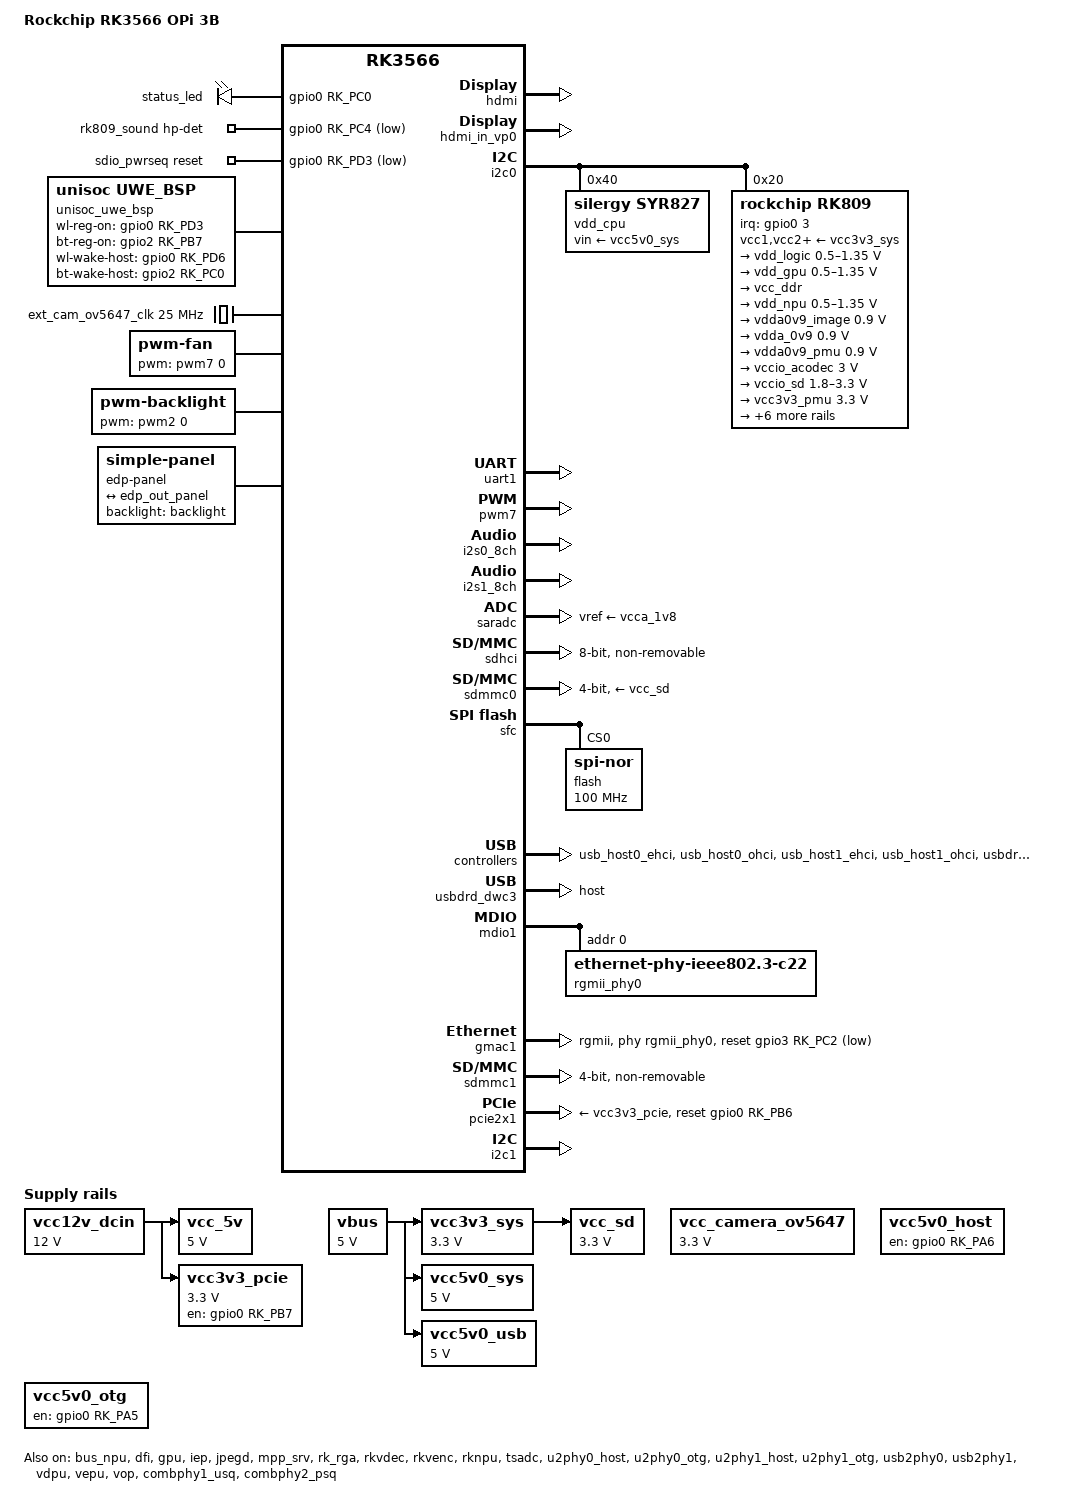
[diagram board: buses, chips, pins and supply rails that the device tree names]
// SPDX-License-Identifier: (GPL-2.0+ OR MIT)
/*
 * Copyright (c) 2020 Rockchip Electronics Co., Ltd.
 *
 */
/dts-v1/;

#include <dt-bindings/gpio/gpio.h>
#include <dt-bindings/pwm/pwm.h>
#include <dt-bindings/pinctrl/rockchip.h>
#include <dt-bindings/input/rk-input.h>
#include <dt-bindings/display/drm_mipi_dsi.h>
#include <dt-bindings/sensor-dev.h>
#include <dt-bindings/display/rockchip_vop.h>
#include "rk3566.dtsi"
#include "rk3568-linux.dtsi"

/ {
	model = "Rockchip RK3566 OPi 3B";
	compatible = "rockchip,rk3566-orangepi-3b", "rockchip,rk3566";

	chosen: chosen {
		bootargs = "earlycon=uart8250,mmio32,0xfe660000 console=ttyFIQ0";
	};

	/* labeled +12v in schematic */
	vcc12v_dcin: vcc12v-dcin-regulator {
		compatible = "regulator-fixed";
		regulator-name = "vcc12v_dcin";
		regulator-always-on;
		regulator-boot-on;
		regulator-min-microvolt = <12000000>;
		regulator-max-microvolt = <12000000>;
	};

	/* labeled +5v in schematic */
	vcc_5v: vcc-5v-regulator {
		compatible = "regulator-fixed";
		regulator-name = "vcc_5v";
		regulator-always-on;
		regulator-boot-on;
		regulator-min-microvolt = <5000000>;
		regulator-max-microvolt = <5000000>;
		vin-supply = <&vcc12v_dcin>;
	};

	vbus: vbus {
		compatible = "regulator-fixed";
		regulator-name = "vbus";
		regulator-always-on;
		regulator-boot-on;
		regulator-min-microvolt = <5000000>;
		regulator-max-microvolt = <5000000>;
	};

	/* labeled +3.3v For PCIe only in schematic */
	vcc3v3_pcie: vcc3v3-pcie-regulator {
		compatible = "regulator-fixed";
		regulator-name = "vcc3v3_pcie";
		regulator-always-on;
		regulator-boot-on;
		enable-active-high;
		gpio = <&gpio0 RK_PB7 GPIO_ACTIVE_HIGH>;
		pinctrl-names = "default";
		pinctrl-0 = <&pcie_drv>;
		regulator-min-microvolt = <3300000>;
		regulator-max-microvolt = <3300000>;
		vin-supply = <&vcc12v_dcin>;
	};
		
	hdmi_sound: hdmi-sound {
		compatible = "simple-audio-card";
		simple-audio-card,format = "i2s";
		simple-audio-card,mclk-fs = <128>;
		simple-audio-card,name = "rockchip,hdmi";
		status = "disabled";

		simple-audio-card,cpu {
				sound-dai = <&i2s0_8ch>;
		};
		simple-audio-card,codec {
				sound-dai = <&hdmi>;
		};
	};

	leds: leds {
		compatible = "gpio-leds";
		pinctrl-names = "default";
		pinctrl-0 =<&leds_gpio>;

		led@1 {
			gpios = <&gpio0 RK_PC0 GPIO_ACTIVE_HIGH>;
			label = "status_led";
			linux,default-trigger = "heartbeat";
		};
	};

	rk809_sound: rk809-sound {
		status = "okay";
		compatible = "rockchip,multicodecs-card";
		rockchip,card-name = "rockchip-rk809";
		hp-det-gpio = <&gpio0 RK_PC4 GPIO_ACTIVE_LOW>;
		rockchip,format = "i2s";
		rockchip,mclk-fs = <256>;
		rockchip,cpu = <&i2s1_8ch>;
		rockchip,codec = <&rk809_codec>;
		pinctrl-names = "default";
		pinctrl-0 = <&hp_det>;
	};

	vcc3v3_sys: vcc3v3-sys {
		compatible = "regulator-fixed";
		regulator-name = "vcc3v3_sys";
		regulator-always-on;
		regulator-boot-on;
		regulator-min-microvolt = <3300000>;
		regulator-max-microvolt = <3300000>;
		vin-supply = <&vbus>;
	};

	vcc5v0_sys: vcc5v0-sys {
		compatible = "regulator-fixed";
		regulator-name = "vcc5v0_sys";
		regulator-always-on;
		regulator-boot-on;
		regulator-min-microvolt = <5000000>;
		regulator-max-microvolt = <5000000>;
		vin-supply = <&vbus>;
	};

	vcc5v0_usb: vcc5v0-usb {
		compatible = "regulator-fixed";
		regulator-name = "vcc5v0_usb";
		regulator-always-on;
		regulator-boot-on;
		regulator-min-microvolt = <5000000>;
		regulator-max-microvolt = <5000000>;
		vin-supply = <&vbus>;
	};

	sdio_pwrseq: sdio-pwrseq {
		compatible = "mmc-pwrseq-simple";
		clocks = <&rk809 1>;
		clock-names = "ext_clock";
		pinctrl-names = "default";
		pinctrl-0 = <&wifi_enable_h>;

		/*
		 * On the module itself this is one of these (depending
		 * on the actual card populated):
		 * - SDIO_RESET_L_WL_REG_ON
		 * - PDN (power down when low)
		 */
		post-power-on-delay-ms = <200>;
		reset-gpios = <&gpio0 RK_PD3 GPIO_ACTIVE_LOW>;
	};

	test-power {
		status = "okay";
	};

	unisoc_uwe_bsp: uwe-bsp {
		compatible = "unisoc,uwe_bsp";
		wl-reg-on = <&gpio0 RK_PD3 GPIO_ACTIVE_HIGH>;
		bt-reg-on = <&gpio2 RK_PB7 GPIO_ACTIVE_HIGH>;
		wl-wake-host-gpio = <&gpio0 RK_PD6 GPIO_ACTIVE_HIGH>;
		bt-wake-host-gpio = <&gpio2 RK_PC0 GPIO_ACTIVE_HIGH>;
		//sdio-ext-int-gpio = <&gpio2 RK_PC1 GPIO_ACTIVE_HIGH>;
		unisoc,btwf-file-name = "/vendor/etc/firmware/wcnmodem.bin";
		//adma-tx;
		//adma-rx;
		data-irq;
		blksz-512;
		keep-power-on;
		status = "okay";
	};

	sprd-mtty {
		compatible = "sprd,mtty";
		sprd,name = "ttyBT";
		status = "okay";
	};

	vcc_camera_ov5647: vcc-camera-ov5647 {
		status = "okay";
		compatible = "regulator-fixed";
		regulator-name = "vcc_camera_ov5647";
		regulator-min-microvolt = <3300000>;
		regulator-max-microvolt = <3300000>;
		regulator-always-on;
		regulator-boot-on;
	};

	ext_cam_ov5647_clk: external-camera-ov5647-clock {
		compatible = "fixed-clock";
		clock-frequency = <25000000>;
		clock-output-names = "ext_cam_ov5647_clk";
		#clock-cells = <0>;
	};

	vcc_sd: vcc-sd {
		compatible = "regulator-fixed";
		regulator-max-microvolt = <3300000>;
		regulator-min-microvolt = <3300000>;
		regulator-name = "vcc_sd";
		vin-supply = <&vcc3v3_sys>;
	};

	vcc5v0_host: vcc5v0-host-regulator {
		compatible = "regulator-fixed";
		enable-active-high;
		gpio = <&gpio0 RK_PA6 GPIO_ACTIVE_HIGH>;
		pinctrl-names = "default";
		pinctrl-0 = <&vcc5v0_host_en>;
		regulator-name = "vcc5v0_host";
		regulator-always-on;
	};

	vcc5v0_otg: vcc5v0-otg-regulator {
		compatible = "regulator-fixed";
		enable-active-high;
		gpio = <&gpio0 RK_PA5 GPIO_ACTIVE_HIGH>;
		pinctrl-names = "default";
		pinctrl-0 = <&vcc5v0_otg_en>;
		regulator-name = "vcc5v0_otg";
		regulator-always-on;
	};

	fan: pwm-fan {
		compatible = "pwm-fan";
		#cooling-cells = <2>;
		pwms = <&pwm7 0 50000 0>;
		cooling-levels = <0 50 100 150 200 255>;
		rockchip,temp-trips = <
			50000   1
			55000   2
			60000   3
			65000   4
			70000   5
		>;

		status = "okay";
	};

	backlight: backlight {
		compatible = "pwm-backlight";
		pwms = <&pwm2 0 25000 0>;
		brightness-levels = <
			  0  20  20  21  21  22  22  23
			 23  24  24  25  25  26  26  27
			 27  28  28  29  29  30  30  31
			 31  32  32  33  33  34  34  35
			 35  36  36  37  37  38  38  39
			 40  41  42  43  44  45  46  47
			 48  49  50  51  52  53  54  55
			 56  57  58  59  60  61  62  63
			 64  65  66  67  68  69  70  71
			 72  73  74  75  76  77  78  79
			 80  81  82  83  84  85  86  87
			 88  89  90  91  92  93  94  95
			 96  97  98  99 100 101 102 103
			104 105 106 107 108 109 110 111
			112 113 114 115 116 117 118 119
			120 121 122 123 124 125 126 127
			128 129 130 131 132 133 134 135
			136 137 138 139 140 141 142 143
			144 145 146 147 148 149 150 151
			152 153 154 155 156 157 158 159
			160 161 162 163 164 165 166 167
			168 169 170 171 172 173 174 175
			176 177 178 179 180 181 182 183
			184 185 186 187 188 189 190 191
			192 193 194 195 196 197 198 199
			200 201 202 203 204 205 206 207
			208 209 210 211 212 213 214 215
			216 217 218 219 220 221 222 223
			224 225 226 227 228 229 230 231
			232 233 234 235 236 237 238 239
			240 241 242 243 244 245 246 247
			248 249 250 251 252 253 254 255
		>;
		default-brightness-level = <200>;
	};

	edp-panel {
		compatible = "simple-panel";
		backlight = <&backlight>;
		prepare-delay-ms = <120>;
		enable-delay-ms = <120>;
		unprepare-delay-ms = <120>;
		disable-delay-ms = <120>;

		display-timings {
			native-mode = <&edp_timing>;

			edp_timing: timing0 {
				clock-frequency = <125000000>;
				hactive = <1920>;
				vactive = <1080>;
				hback-porch = <180>;
				hfront-porch = <120>;
				vback-porch = <10>;
				vfront-porch = <10>;
				hsync-len = <20>;
				vsync-len = <10>;
				hsync-active = <0>;
				vsync-active = <0>;
				de-active = <0>;
				pixelclk-active = <0>;
			};
		};

		port {
			panel_in_edp: endpoint {
				remote-endpoint = <&edp_out_panel>;
			};
		};
	};
};

&bus_npu {
	bus-supply = <&vdd_logic>;
	pvtm-supply = <&vdd_cpu>;
	status = "okay";
};

&cpu0 {
	cpu-supply = <&vdd_cpu>;
};

&dfi {
	status = "okay";
};

&dmc {
	center-supply = <&vdd_logic>;
	status = "disabled";
};

&gpu {
	clock-names = "gpu", "bus";
	interrupt-names = "gpu", "mmu", "job";
	mali-supply = <&vdd_gpu>;
	status = "okay";
};

&hdmi {
	status = "okay";
	rockchip,phy-table =
		<92812500  0x8009 0x0000 0x0270>,
		<165000000 0x800b 0x0000 0x026d>,
		<185625000 0x800b 0x0000 0x01ed>,
		<297000000 0x800b 0x0000 0x01ad>,
		<594000000 0x8029 0x0000 0x0088>,
		<000000000 0x0000 0x0000 0x0000>;
};

&hdmi_in_vp0 {
	status = "okay";
};

&hdmi_in_vp1 {
	status = "disabled";
};

&hdmi_sound {
	status = "okay";
};

&i2c0 {
	status = "okay";

	vdd_cpu: syr837@40 {
		compatible = "silergy,syr827";
		reg = <0x40>;
		vin-supply = <&vcc5v0_sys>;
		regulator-compatible = "fan53555-reg";
		regulator-name = "vdd_cpu";
		regulator-min-microvolt = <712500>;
		regulator-max-microvolt = <1390000>;
		regulator-init-microvolt = <900000>;
		regulator-initial-mode = <1>;
		regulator-ramp-delay = <2300>;
		fcs,suspend-voltage-selector = <1>;
		regulator-boot-on;
		regulator-always-on;
		regulator-state-mem {
			regulator-off-in-suspend;
		};
	};

	rk809: pmic@20 {
		compatible = "rockchip,rk809";
		reg = <0x20>;
		interrupt-parent = <&gpio0>;
		interrupts = <3 IRQ_TYPE_LEVEL_LOW>;

		pinctrl-names = "default", "pmic-sleep",
				"pmic-power-off", "pmic-reset";
		pinctrl-0 = <&pmic_int>;
		pinctrl-1 = <&soc_slppin_slp>, <&rk817_slppin_slp>;
		pinctrl-2 = <&soc_slppin_gpio>, <&rk817_slppin_pwrdn>;
		pinctrl-3 = <&soc_slppin_gpio>, <&rk817_slppin_rst>;

		rockchip,system-power-controller;
		wakeup-source;
		#clock-cells = <1>;
		clock-output-names = "rk808-clkout1", "rk808-clkout2";
		//fb-inner-reg-idxs = <2>;
		/* 1: rst regs (default in codes), 0: rst the pmic */
		pmic-reset-func = <0>;
		/* not save the PMIC_POWER_EN register in uboot */
		not-save-power-en = <1>;

		vcc1-supply = <&vcc3v3_sys>;
		vcc2-supply = <&vcc3v3_sys>;
		vcc3-supply = <&vcc3v3_sys>;
		vcc4-supply = <&vcc3v3_sys>;
		vcc5-supply = <&vcc3v3_sys>;
		vcc6-supply = <&vcc3v3_sys>;
		vcc7-supply = <&vcc3v3_sys>;
		vcc8-supply = <&vcc3v3_sys>;
		vcc9-supply = <&vcc3v3_sys>;

		pwrkey {
			status = "okay";
		};

		pinctrl_rk8xx: pinctrl_rk8xx {
			gpio-controller;
			#gpio-cells = <2>;

			rk817_slppin_null: rk817_slppin_null {
				pins = "gpio_slp";
				function = "pin_fun0";
			};

			rk817_slppin_slp: rk817_slppin_slp {
				pins = "gpio_slp";
				function = "pin_fun1";
			};

			rk817_slppin_pwrdn: rk817_slppin_pwrdn {
				pins = "gpio_slp";
				function = "pin_fun2";
			};

			rk817_slppin_rst: rk817_slppin_rst {
				pins = "gpio_slp";
				function = "pin_fun3";
			};
		};

		regulators {
			vdd_logic: DCDC_REG1 {
				regulator-always-on;
				regulator-boot-on;
				regulator-min-microvolt = <500000>;
				regulator-max-microvolt = <1350000>;
				regulator-init-microvolt = <900000>;
				regulator-ramp-delay = <6001>;
				regulator-initial-mode = <0x2>;
				regulator-name = "vdd_logic";
				regulator-state-mem {
					regulator-off-in-suspend;
				};
			};

			vdd_gpu: DCDC_REG2 {
				regulator-always-on;
				regulator-boot-on;
				regulator-min-microvolt = <500000>;
				regulator-max-microvolt = <1350000>;
				regulator-init-microvolt = <900000>;
				regulator-ramp-delay = <6001>;
				regulator-initial-mode = <0x2>;
				regulator-name = "vdd_gpu";
				regulator-state-mem {
					regulator-off-in-suspend;
				};
			};

			vcc_ddr: DCDC_REG3 {
				regulator-always-on;
				regulator-boot-on;
				regulator-initial-mode = <0x2>;
				regulator-name = "vcc_ddr";
				regulator-state-mem {
					regulator-on-in-suspend;
				};
			};

			vdd_npu: DCDC_REG4 {
				regulator-always-on;
				regulator-boot-on;
				regulator-min-microvolt = <500000>;
				regulator-max-microvolt = <1350000>;
				regulator-init-microvolt = <900000>;
				regulator-ramp-delay = <6001>;
				regulator-initial-mode = <0x2>;
				regulator-name = "vdd_npu";
				regulator-state-mem {
					regulator-off-in-suspend;
				};
			};

			vdda0v9_image: LDO_REG1 {
				regulator-boot-on;
				regulator-always-on;
				regulator-min-microvolt = <900000>;
				regulator-max-microvolt = <900000>;
				regulator-name = "vdda0v9_image";
				regulator-state-mem {
					regulator-off-in-suspend;
				};
			};

			vdda_0v9: LDO_REG2 {
				regulator-always-on;
				regulator-boot-on;
				regulator-min-microvolt = <900000>;
				regulator-max-microvolt = <900000>;
				regulator-name = "vdda_0v9";
				regulator-state-mem {
					regulator-off-in-suspend;
				};
			};

			vdda0v9_pmu: LDO_REG3 {
				regulator-always-on;
				regulator-boot-on;
				regulator-min-microvolt = <900000>;
				regulator-max-microvolt = <900000>;
				regulator-name = "vdda0v9_pmu";
				regulator-state-mem {
					regulator-on-in-suspend;
					regulator-suspend-microvolt = <900000>;
				};
			};

			vccio_acodec: LDO_REG4 {
				regulator-always-on;
				regulator-boot-on;
				regulator-min-microvolt = <3000000>;
				regulator-max-microvolt = <3000000>;
				regulator-name = "vccio_acodec";
				regulator-state-mem {
					regulator-off-in-suspend;
				};
			};

			vccio_sd: LDO_REG5 {
				regulator-always-on;
				regulator-boot-on;
				regulator-min-microvolt = <1800000>;
				regulator-max-microvolt = <3300000>;
				regulator-name = "vccio_sd";
				regulator-state-mem {
					regulator-off-in-suspend;
				};
			};

			vcc3v3_pmu: LDO_REG6 {
				regulator-always-on;
				regulator-boot-on;
				regulator-min-microvolt = <3300000>;
				regulator-max-microvolt = <3300000>;
				regulator-name = "vcc3v3_pmu";
				regulator-state-mem {
					regulator-on-in-suspend;
					regulator-suspend-microvolt = <3300000>;
				};
			};

			vcca_1v8: LDO_REG7 {
				regulator-always-on;
				regulator-boot-on;
				regulator-min-microvolt = <1800000>;
				regulator-max-microvolt = <1800000>;
				regulator-name = "vcca_1v8";
				regulator-state-mem {
					regulator-off-in-suspend;
				};
			};

			vcca1v8_pmu: LDO_REG8 {
				regulator-always-on;
				regulator-boot-on;
				regulator-min-microvolt = <1800000>;
				regulator-max-microvolt = <1800000>;
				regulator-name = "vcca1v8_pmu";
				regulator-state-mem {
					regulator-on-in-suspend;
					regulator-suspend-microvolt = <1800000>;
				};
			};

			vcca1v8_image: LDO_REG9 {
				regulator-always-on;
				regulator-boot-on;
				regulator-min-microvolt = <1800000>;
				regulator-max-microvolt = <1800000>;
				regulator-name = "vcca1v8_image";
				regulator-state-mem {
					regulator-off-in-suspend;
				};
			};

			vcc_1v8: DCDC_REG5 {
				regulator-always-on;
				regulator-boot-on;
				regulator-min-microvolt = <1800000>;
				regulator-max-microvolt = <1800000>;
				regulator-name = "vcc_1v8";
				regulator-state-mem {
					regulator-off-in-suspend;
				};
			};

			vcc_3v3: SWITCH_REG1 {
				regulator-always-on;
				regulator-boot-on;
				regulator-name = "vcc_3v3";
				regulator-state-mem {
					regulator-off-in-suspend;
				};
			};

			vcc3v3_sd: SWITCH_REG2 {
				regulator-always-on;
				regulator-boot-on;
				regulator-name = "vcc3v3_sd";
				regulator-state-mem {
					regulator-off-in-suspend;
				};
			};
		};

		rk809_codec: codec {
			#sound-dai-cells = <1>;
			compatible = "rockchip,rk809-codec", "rockchip,rk817-codec";
			clocks = <&cru I2S1_MCLKOUT>;
			clock-names = "mclk";
			assigned-clocks = <&cru I2S1_MCLKOUT>, <&cru I2S1_MCLK_TX_IOE>;
			assigned-clock-rates = <12288000>;
			assigned-clock-parents = <&cru I2S1_MCLKOUT_TX>, <&cru I2S1_MCLKOUT_TX>;
			pinctrl-names = "default";
			pinctrl-0 = <&i2s1m0_mclk>;
			hp-volume = <20>;
			spk-volume = <3>;
			mic-in-differential;
			status = "okay";
		};
	};
};

&uart1 {
	status = "okay";
	pinctrl-names = "default";
	pinctrl-0 = <&uart1m0_xfer &uart1m0_ctsn>;
};

&pwm7 {
	status = "okay";
};

&i2s0_8ch {
	status = "okay";
};

&i2s1_8ch {
	status = "okay";
	rockchip,clk-trcm = <1>;
	pinctrl-names = "default";
	pinctrl-0 = <&i2s1m0_sclktx
		     &i2s1m0_lrcktx
		     &i2s1m0_sdi0
		     &i2s1m0_sdo0>;
};

&iep {
	status = "okay";
};

&iep_mmu {
	status = "okay";
};

&jpegd {
	status = "okay";
};

&jpegd_mmu {
	status = "okay";
};

&mpp_srv {
	status = "okay";
};

&pinctrl {
	wireless-bluetooth {
		uart1_gpios: uart1-gpios {
			rockchip,pins = <2 RK_PB5 RK_FUNC_GPIO &pcfg_pull_none>;
		};
	};

	sd {
		sdmmc0_pwr_h: sdmmc0-pwr-h {
			rockchip,pins =
			        <0 RK_PB0 RK_FUNC_GPIO &pcfg_pull_none>;
		};
	};

	mxc6655xa {
		mxc6655xa_irq_gpio: mxc6655xa_irq_gpio {
			rockchip,pins = <3 RK_PC1 RK_FUNC_GPIO &pcfg_pull_none>;
		};
	};

	pmic {
		pmic_int: pmic_int {
			rockchip,pins =
				<0 RK_PA3 RK_FUNC_GPIO &pcfg_pull_up>;
		};

		soc_slppin_gpio: soc_slppin_gpio {
			rockchip,pins =
				<0 RK_PA2 RK_FUNC_GPIO &pcfg_output_low>;
		};

		soc_slppin_slp: soc_slppin_slp {
			rockchip,pins =
				<0 RK_PA2 1 &pcfg_pull_none>;
		};

		soc_slppin_rst: soc_slppin_rst {
			rockchip,pins =
				<0 RK_PA2 2 &pcfg_pull_none>;
		};
	};

	touch {
		touch_gpio: touch-gpio {
			rockchip,pins =
				<0 RK_PB5 RK_FUNC_GPIO &pcfg_pull_up>,
				<0 RK_PB6 RK_FUNC_GPIO &pcfg_pull_none>;
		};
	};

	sdio-pwrseq {
		wifi_enable_h: wifi-enable-h {
			rockchip,pins = <0 RK_PD3 RK_FUNC_GPIO &pcfg_pull_none>;
		};
	};

	usb {
		vcc5v0_host_en: vcc5v0-host-en {
			rockchip,pins = <0 RK_PA6 RK_FUNC_GPIO &pcfg_pull_none>;
		};

		vcc5v0_otg_en: vcc5v0-otg-en {
			rockchip,pins = <0 RK_PA5 RK_FUNC_GPIO &pcfg_pull_none>;
		};
	};

	wireless-bluetooth {
		uart8_gpios: uart8-gpios {
			rockchip,pins = <2 RK_PB1 RK_FUNC_GPIO &pcfg_pull_none>;
		};
	};

	work-led {
		leds_gpio: leds-gpio {
			rockchip,pins = <0 RK_PC0 RK_FUNC_GPIO &pcfg_pull_none>;
		};
	};

	headphone {
		hp_det: hp-det {
			rockchip,pins = <0 RK_PC4 RK_FUNC_GPIO &pcfg_pull_down>;
		};
	};

	pcie {
		pcie_drv: pcie-drv {
			rockchip,pins =
				<0 RK_PB7 RK_FUNC_GPIO &pcfg_pull_none>;
		};
	};

	edp {
	        edp_hpd: edp-hpd {
	                rockchip,pins = <0 RK_PA0 RK_FUNC_GPIO &pcfg_pull_none>;
	        };

	        bl_en: bl-en {
	                rockchip,pins = <0 RK_PB5 RK_FUNC_GPIO &pcfg_output_high>;
	        };
	};
};

 /*
  * There are 10 independent IO domains in RK3566/RK3568, including PMUIO[0:2] and VCCIO[1:7].
  * 1/ PMUIO0 and PMUIO1 are fixed-level power domains which cannot be configured;
  * 2/ PMUIO2 and VCCIO1,VCCIO[3:7] domains require that their hardware power supply voltages
  *    must be consistent with the software configuration correspondingly
  *	a/ When the hardware IO level is connected to 1.8V, the software voltage configuration
  *	   should also be configured to 1.8V accordingly;
  *	b/ When the hardware IO level is connected to 3.3V, the software voltage configuration
  *	   should also be configured to 3.3V accordingly;
  * 3/ VCCIO2 voltage control selection (0xFDC20140)
  *	BIT[0]: 0x0: from GPIO_0A7 (default)
  *	BIT[0]: 0x1: from GRF
  *    Default is determined by Pin FLASH_VOL_SEL/GPIO0_A7:
  *	L:VCCIO2 must supply 3.3V
  *	H:VCCIO2 must supply 1.8V
  */

&pmu_io_domains {
        status = "okay";
        pmuio1-supply = <&vcc3v3_pmu>;
        pmuio2-supply = <&vcc3v3_pmu>;
        vccio1-supply = <&vcc_3v3>;
	vccio2-supply = <&vcc_1v8>;
        vccio3-supply = <&vccio_sd>;
        vccio4-supply = <&vcc_1v8>;
        vccio5-supply = <&vcc_3v3>;
        vccio6-supply = <&vcc_3v3>;
        vccio7-supply = <&vcc_3v3>;
};

&rk_rga {
	status = "okay";
};

&rkvdec {
	status = "okay";
};

&rkvdec_mmu {
	status = "okay";
};

&rkvenc {
	venc-supply = <&vdd_logic>;
	status = "okay";
};

&rkvenc_mmu {
	status = "okay";
};

&rknpu {
	rknpu-supply = <&vdd_npu>;
	status = "okay";
};

&rknpu_mmu {
	status = "okay";
};

&route_hdmi {
	status = "disabled";
	connect = <&vp0_out_hdmi>;
};

&saradc {
	status = "okay";
	vref-supply = <&vcca_1v8>;
};

&sdhci {
	bus-width = <8>;
	no-sdio;
	no-sd;
	non-removable;
	max-frequency = <200000000>;
	pinctrl-names = "default";
	pinctrl-0 = <&emmc_clk &emmc_cmd &emmc_bus8>;
	status = "okay";
};

&sdmmc0 {
	max-frequency = <150000000>;
	no-sdio;
	no-mmc;
	bus-width = <4>;
	cap-mmc-highspeed;
	cap-sd-highspeed;
	disable-wp;
	sd-uhs-sdr104;
	vmmc-supply = <&vcc_sd>;
	vqmmc-supply = <&vccio_sd>;
	pinctrl-names = "default";
	pinctrl-0 = <&sdmmc0_bus4 &sdmmc0_clk &sdmmc0_cmd &sdmmc0_det>;
	status = "okay";
};

&sfc {
	status = "okay";
	pinctrl-names = "default";
	pinctrl-0 = <&fspi_pins>;

	flash@0 {
		compatible = "jedec,spi-nor";
		reg = <0>;
		spi-max-frequency = <100000000>;
		spi-rx-bus-width = <4>;
		spi-tx-bus-width = <1>;
	};
};

&tsadc {
	status = "okay";
};

&u2phy0_host {
	phy-supply = <&vbus>;	
	status = "okay";
};

&u2phy0_otg {
	status = "okay";
};

&u2phy1_host {
	status = "okay";
};

&u2phy1_otg {
	status = "okay";
};

&usb2phy0 {
	status = "okay";
};

&usb2phy1 {
	status = "okay";
};

&usb_host0_ehci {
	status = "okay";
};

&usb_host0_ohci {
	status = "okay";
};

&usb_host1_ehci {
	status = "okay";
};

&usb_host1_ohci {
	status = "okay";
};

&usbdrd_dwc3 {
	dr_mode = "host";
	extcon = <&usb2phy0>;
	status = "okay";
};

&usbdrd30 {
	status = "okay";
};

&usbhost_dwc3 {
	status = "okay";
};

&usbhost30 {
	status = "okay";
};

&vdpu {
	status = "okay";
};

&vdpu_mmu {
	status = "okay";
};

&vepu {
	status = "okay";
};

&vepu_mmu {
	status = "okay";
};

&vop {
	status = "okay";
	assigned-clocks = <&cru DCLK_VOP0>, <&cru DCLK_VOP1>;
	assigned-clock-parents = <&pmucru PLL_HPLL>, <&cru PLL_VPLL>;
};

&vop_mmu {
	status = "okay";
};

&mdio1 {
	rgmii_phy0: phy@0 {
		compatible = "ethernet-phy-ieee802.3-c22";
		reg = <0x0>;
	};
};

&gmac1 {
	phy-mode = "rgmii";
	clock_in_out = "input";

	snps,reset-gpio = <&gpio3 RK_PC2 GPIO_ACTIVE_LOW>;
	snps,reset-active-low;
	/* Reset time is 20ms, 100ms for rtl8211f */
	//snps,reset-delays-us = <0 20000 100000>;
	snps,reset-delays-us = <0 50000 200000>;

	assigned-clocks = <&cru SCLK_GMAC1_RX_TX>, <&cru SCLK_GMAC1>;
	assigned-clock-parents = <&cru SCLK_GMAC1_RGMII_SPEED>, <&cru CLK_MAC1_2TOP>;
	assigned-clock-rates = <0>, <125000000>;

	pinctrl-names = "default";
	pinctrl-0 = <&gmac1m0_miim
		     &gmac1m0_tx_bus2
		     &gmac1m0_rx_bus2
		     &gmac1m0_rgmii_clk
			 &gmac1m0_clkinout
		     &gmac1m0_rgmii_bus>;

	tx_delay = <0x30>;
	rx_delay = <0x10>;

	phy-handle = <&rgmii_phy0>;
	status = "okay";
};

&sdmmc1 {
	max-frequency = <150000000>;
	no-sd;
	no-mmc;
	bus-width = <4>;
	disable-wp;
	cap-sd-highspeed;
	cap-sdio-irq;
	keep-power-in-suspend;
	mmc-pwrseq = <&sdio_pwrseq>;
	non-removable;
	pinctrl-names = "default";
	pinctrl-0 = <&sdmmc1_bus4 &sdmmc1_cmd &sdmmc1_clk>;
	sd-uhs-sdr104;
	status = "okay";
};

&combphy1_usq {
	status = "okay";
};

&combphy2_psq {
	status = "okay";
};

&pcie2x1 {
	reset-gpios = <&gpio0 RK_PB6 GPIO_ACTIVE_HIGH>;
	vpcie3v3-supply = <&vcc3v3_pcie>;
	status = "okay";
};

&vp0 {
	rockchip,plane-mask = <(1 << ROCKCHIP_VOP2_CLUSTER0 | 1 << ROCKCHIP_VOP2_ESMART0 | 1 <<
	ROCKCHIP_VOP2_SMART0 | 1 << ROCKCHIP_VOP2_CLUSTER1 | 1 << ROCKCHIP_VOP2_ESMART1 | 1 <<
	ROCKCHIP_VOP2_SMART1)>;
	rockchip,primary-plane = <ROCKCHIP_VOP2_SMART0>;
};

&i2c1 {
        status = "okay";

        ov5647: ov5647@36 {
                status = "disabled";
                compatible = "ovti,ov5647";
                reg = <0x36>;
		clocks = <&ext_cam_ov5647_clk>;
                clock-names = "ext_cam_ov5647_clk";
                pwdn-gpios = <&gpio2 RK_PC6 GPIO_ACTIVE_LOW>;
		rockchip,camera-module-index = <0>;
		rockchip,camera-module-facing = "back";
		rockchip,camera-module-name = "LMM248";
		rockchip,camera-module-lens-name = "YXC-M804A2";
                port {
                        ov5647_out: endpoint {
                                remote-endpoint = <&dphy1_in>;
                                data-lanes = <1 2>;
                        };
                };
        };

	raspits_panel: raspits-panel@45 {
                status = "disabled";
		compatible = "raspberrypi,7inch-touchscreen-panel";
		reg = <0x45>;

		port {
			panel_in_dsi1: endpoint {
				remote-endpoint = <&dsi1_out_panel>;
			};
		};
	};

	raspits_touch_ft5426: raspits-touch-ft5426@38 {
                status = "disabled";
		compatible = "raspits_ft5426";
		reg = <0x38>;
	};
};

&csi2_dphy_hw {
      status = "disabled";
};

&csi2_dphy0 {
        status = "disabled";
};

&csi2_dphy1 {
        status = "disabled";
        /*
        * dphy1 only used for split mode,
        * can be used  concurrently  with dphy2
        * full mode and split mode are mutually exclusive
        */
        ports {
                #address-cells = <1>;
                #size-cells = <0>;

                port@0 {
                        reg = <0>;
                        #address-cells = <1>;
                        #size-cells = <0>;

                        dphy1_in: endpoint@1 {
                                        reg = <1>;
                                        remote-endpoint = <&ov5647_out>;
                                        data-lanes = <1 2>;
                        };
                };

                port@1 {
                        reg = <1>;
                        #address-cells = <1>;
                        #size-cells = <0>;

                        dphy1_out: endpoint@1 {
                                        reg = <1>;
                                        remote-endpoint = <&isp0_in>;
                        };
                };
        };
};

&rkisp {
        status = "disabled";
};

&rkisp_mmu {
        status = "disabled";
};

&rkisp_vir0 {
        status = "disabled";
        port {
                #address-cells = <1>;
                #size-cells = <0>;

                isp0_in: endpoint@0 {
                        reg = <0>;
                        remote-endpoint = <&dphy1_out>;
                };
        };
};

&edp {
	status = "disabled";
	force-hpd;
	hpd-gpios = <&gpio0 RK_PA0 GPIO_ACTIVE_HIGH>;
	pinctrl-names = "default";
	pinctrl-0 = <&edp_hpd &bl_en>;

	ports {
		port@1 {
			reg = <1>;

			edp_out_panel: endpoint {
				remote-endpoint = <&panel_in_edp>;
			};
		};
	};
};

&edp_phy {
	status = "disabled";
};

&route_edp {
	status = "disabled";
};

&pwm2 {
	status = "disabled";
};

&dsi1 {
	status = "disabled";

	ports {
		port@1 {
			reg = <1>;

			dsi1_out_panel: endpoint {
				remote-endpoint = <&panel_in_dsi1>;
			};
		};
	};
};
